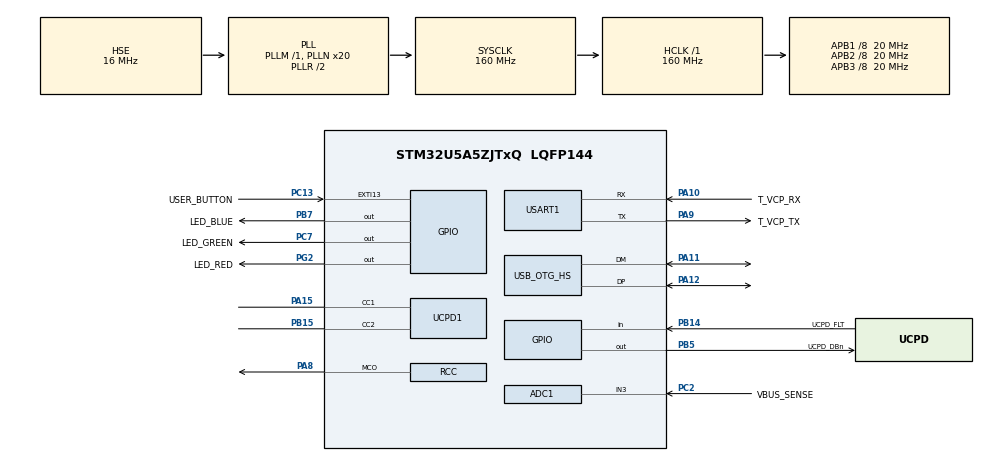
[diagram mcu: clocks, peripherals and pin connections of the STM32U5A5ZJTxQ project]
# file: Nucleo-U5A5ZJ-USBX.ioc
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ADC1.Channel-0\#ChannelRegularConversion=ADC_CHANNEL_3
ADC1.NbrOfConversionFlag=1
ADC1.OffsetNumber-0\#ChannelRegularConversion=ADC_OFFSET_NONE
ADC1.Rank-0\#ChannelRegularConversion=1
ADC1.SamplingTime-0\#ChannelRegularConversion=ADC_SAMPLETIME_5CYCLE
ADC1.master=1
CORTEX_M33_NS.userName=CORTEX_M33
FILEX.FX_APP_MEM_POOL_SIZE=3072
FILEX.FX_ENABLE_EXFAT=1
FILEX.GENERATE_FILEX_INIT_CODE=false
FILEX.useRTOS=1
GPDMA1.DESTINC_GPDMACH0=DMA_DINC_INCREMENTED
GPDMA1.DIRECTION_GPDMACH1=DMA_MEMORY_TO_PERIPH
GPDMA1.IPHANDLE_GPDMACH0-SIMPLEREQUEST_GPDMACH0=__NULL
GPDMA1.IPHANDLE_GPDMACH1-SIMPLEREQUEST_GPDMACH1=__NULL
GPDMA1.REQUEST_GPDMACH0=GPDMA1_REQUEST_UCPD1_RX
GPDMA1.REQUEST_GPDMACH1=GPDMA1_REQUEST_UCPD1_TX
GPDMA1.SRCINC_GPDMACH1=DMA_SINC_INCREMENTED
Mcu.Family=STM32U5
Mcu.Name=STM32U5A5ZJTxQ
Mcu.Package=LQFP144
NVIC.EXTI13_IRQn=true\:15\:0\:true\:false\:true\:false\:true\:true\:true
NVIC.GPDMA1_Channel0_IRQn=true\:5\:0\:true\:false\:true\:true\:false\:true\:true
NVIC.GPDMA1_Channel1_IRQn=true\:5\:0\:true\:false\:true\:true\:false\:true\:true
NVIC.OTG_HS_IRQn=true\:10\:0\:true\:false\:true\:false\:true\:true\:true
NVIC.PriorityGroup=NVIC_PRIORITYGROUP_4
NVIC.TIM7_IRQn=true\:15\:0\:false\:false\:true\:false\:false\:true\:true
NVIC.TimeBase=TIM7_IRQn
NVIC.TimeBaseIP=TIM7
NVIC.UCPD1_IRQn=true\:5\:0\:true\:false\:true\:false\:true\:false\:true
PA10.GPIO_Label=T_VCP_RX
PA10.Mode=Asynchronous
PA10.Signal=USART1_RX
PA11.Mode=Internal_Phy_Host
PA11.Signal=USB_OTG_HS_DM
PA12.Mode=Internal_Phy_Host
PA12.Signal=USB_OTG_HS_DP
PA13\ (JTMS/SWDIO).Mode=Trace_Asynchronous_SW
PA13\ (JTMS/SWDIO).Signal=DEBUG_JTMS-SWDIO
PA14\ (JTCK/SWCLK).Mode=Trace_Asynchronous_SW
PA14\ (JTCK/SWCLK).Signal=DEBUG_JTCK-SWCLK
PA15\ (JTDI).Mode=Source_AllSignals
PA15\ (JTDI).Signal=UCPD1_CC1
PA8.Mode=Clock-out
PA8.Signal=RCC_MCO
PA9.GPIO_Label=T_VCP_TX
PA9.Mode=Asynchronous
PA9.Signal=USART1_TX
PB14.GPIO_Label=UCPD_FLT
PB14.Signal=GPIO_Input
PB15.Mode=Source_AllSignals
PB15.Signal=UCPD1_CC2
PB3\ (JTDO/TRACESWO).Mode=Trace_Asynchronous_SW
PB3\ (JTDO/TRACESWO).Signal=DEBUG_JTDO-SWO
PB5.GPIO_Label=UCPD_DBn
PB5.Signal=GPIO_Output
PB7.GPIO_Label=LED_BLUE
PB7.Signal=GPIO_Output
PC13.GPIO_Label=USER_BUTTON
PC13.GPIO_PuPd=GPIO_PULLDOWN
PC13.Signal=GPXTI13
PC14-OSC32_IN\ (PC14).Mode=LSE-External-Oscillator
PC14-OSC32_IN\ (PC14).Signal=RCC_OSC32_IN
PC15-OSC32_OUT\ (PC15).Mode=LSE-External-Oscillator
PC15-OSC32_OUT\ (PC15).Signal=RCC_OSC32_OUT
PC2.GPIO_Label=VBUS_SENSE
PC2.Mode=IN3-Single-Ended
PC2.Signal=ADC1_IN3
PC7.GPIO_Label=LED_GREEN
PC7.Signal=GPIO_Output
PG2.GPIO_Label=LED_RED
PG2.Signal=GPIO_Output
PH0-OSC_IN\ (PH0).Mode=HSE-External-Oscillator
PH0-OSC_IN\ (PH0).Signal=RCC_OSC_IN
PH1-OSC_OUT\ (PH1).Mode=HSE-External-Oscillator
PH1-OSC_OUT\ (PH1).Signal=RCC_OSC_OUT
PWR.PowerMode=PWR_SMPS_SUPPLY
ProjectManager.HeapSize=0x1000
ProjectManager.StackSize=0x2000
ProjectManager.TargetToolchain=STM32CubeIDE
RCC.ADCFreq_Value=16000000
RCC.AHBFreq_Value=160000000
RCC.APB1CLKDivider=RCC_HCLK_DIV8
RCC.APB1Freq_Value=20000000
RCC.APB1TimFreq_Value=40000000
RCC.APB2CLKDivider=RCC_HCLK_DIV8
RCC.APB2Freq_Value=20000000
RCC.APB2TimFreq_Value=40000000
RCC.APB3CLKDivider=RCC_HCLK_DIV8
RCC.APB3Freq_Value=20000000
RCC.CortexFreq_Value=20000000
RCC.Cortex_Div=SYSTICK_CLKSOURCE_HCLK_DIV8
RCC.DACCLockSelectionVirtual=RCC_DAC1CLKSOURCE_LSI
RCC.EPOD_VALUE=16000000
RCC.HCLKFreq_Value=160000000
RCC.HSE_VALUE=16000000
RCC.HSI48_VALUE=48000000
RCC.HSI_VALUE=16000000
RCC.LSIDIV_VALUE=32000
RCC.MSIAutoCalibration=PLLMODE_MSIS
RCC.MSIClockRange=RCC_MSIRANGE_2
RCC.MSI_VALUE=16000000
RCC.PLL1P=20
RCC.PLL2N=10
RCC.PLLFRACN=0
RCC.PLLN=20
RCC.PLLSourceVirtual=RCC_PLLSOURCE_HSE
RCC.RCC_MCO1SourceVirtual=RCC_MCO1SOURCE_MSI
RCC.RCC_MCODiv=RCC_MCODIV_16
RCC.SYSCLKFreq_VALUE=160000000
RCC.SYSCLKSource=RCC_SYSCLKSOURCE_PLLCLK
RCC.USART1CLockSelectionVirtual=RCC_USART1CLKSOURCE_HSI
RCC.USBPHYCLockSelection=RCC_USBPHYCLKSOURCE_HSE
RCC.VCOOutputFreq_Value=320000000
THREADX.TX_APP_MEM_POOL_SIZE=1024
THREADX.TX_MINIMUM_STACK=1024
THREADX.TX_TIMER_THREAD_STACK_SIZE=2*1024
USART1.VirtualMode-Asynchronous=VM_ASYNC
USBPD.USBPD_PORT0_PDO_SRC_FIXED_SET_MAX_CURRENT_0=500
USBX.BSP.number=1
USBX.Core_System=1
USBX.USBX_HOST_APP_THREAD_Size=3*1024
USBX.USBX_HOST_SYS_SIZE=1024*22
USBX.USBX_SYS_SIZE=24*1024
USBX.UX_APP_MEM_POOL_SIZE=40960
USBX.UX_HOST_APP_MEM_POOL_SIZE=1024*26
USBX.UX_Host_Controller=1
USBX.UX_Host_CoreStack=1
USBX.UX_Host_MSC=1
USBX0.BSP.STBoard=false
USBX0.BSP.api=Unknown
USBX0.BSP.instance=USB_OTG_HS
USBX0.BSP.ip=USB_OTG_HS
USBX0.BSP.mode=Host_Only
USBX0.BSP.name=USBHost
USBX0.BSP.solution=USB_OTG_HS
USB_OTG_HS.RefClockSelection=SYSCFG_OTG_HS_PHY_CLK_SELECT_1
USB_OTG_HS.VirtualMode=Host_HS
USB_OTG_HS.speed=HCD_SPEED_HIGH
USB_OTG_HS.use_external_vbus=DISABLE
VP_FILEX_VS_FileOoSystemJjFileXJjCore.Mode=FileX_Core
VP_GPDMA1_VS_GPDMACH0.Mode=SIMPLEREQUEST_GPDMACH0
VP_GPDMA1_VS_GPDMACH1.Mode=SIMPLEREQUEST_GPDMACH1
VP_ICACHE_VS_ICACHE.Mode=DirectMappedCache
VP_LPBAMQUEUE_VS_QUEUE.Mode=QUEUEMODE
VP_MEMORYMAP_VS_MEMORYMAP.Mode=CurAppReg
VP_PWR_VS_DBSignals.Mode=DisableDeadBatterySignals
VP_PWR_VS_LPOM.Mode=PowerOptimisation
VP_PWR_VS_SECSignals.Mode=Security/Privilege
VP_PWR_Vdda.Mode=isolationVdda
VP_SYS_VS_tim7.Mode=TIM7
VP_THREADX_VS_RTOSJjThreadXJjCoreJjDefault.Mode=Core_Default
VP_USBPD_VS_PD3MINSRC.Mode=PD3_Min_Src
VP_USBPD_VS_USBPD1.Mode=USBPD_P0
VP_USBPD_VS_usbpd_tim1.Mode=TIM1
VP_USBPD_VS_usbpd_usb_cohabitation.Mode=Enable USB Support
VP_USBX_Core_System.Mode=Core_System
VP_USBX_UX\ Host\ Controller_HS.Mode=UX_Host_Controller_HS
VP_USBX_UX\ Host\ CoreStack_HS.Mode=UX_Host_CoreStack_HS
VP_USBX_UX\ Host\ MSC_HS.Mode=UX_Host_MSC_HS
board=NUCLEO-U5A5ZJ-Q

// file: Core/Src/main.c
/* USER CODE BEGIN Header */
/**
  ******************************************************************************
  * @file           : main.c
  * @brief          : Main program body
  ******************************************************************************
  * @attention
  *
  * Copyright (c) 2026 STMicroelectronics.
  * All rights reserved.
  *
  * This software is licensed under terms that can be found in the LICENSE file
  * in the root directory of this software component.
  * If no LICENSE file comes with this software, it is provided AS-IS.
  *
  ******************************************************************************
  */
/* USER CODE END Header */
#include "app_threadx.h"
#include "main.h"
#include "usbpd.h"

/* USER CODE BEGIN Includes */
#include "terminal_colors.h"
#include "trace.h"
#include "my_printf.h"
/* USER CODE END Includes */

ADC_HandleTypeDef hadc1;

UART_HandleTypeDef huart1;

HCD_HandleTypeDef hhcd_USB_OTG_HS;

void SystemClock_Config(void);
static void SystemPower_Config(void);
static void MX_GPIO_Init(void);
static void MX_GPDMA1_Init(void);
static void MX_ADC1_Init(void);
static void MX_ICACHE_Init(void);
static void MX_UCPD1_Init(void);
static void MX_USART1_UART_Init(void);

/* USER CODE BEGIN 0 */
#ifdef __GNUC__
#define PUTCHAR_PROTOTYPE int __io_putchar(int ch)
#else
#define PUTCHAR_PROTOTYPE int fputc(int ch, FILE *f)
#endif

PUTCHAR_PROTOTYPE {
	HAL_StatusTypeDef status = HAL_UART_Transmit(&huart1, (uint8_t *)&ch, 1, HAL_MAX_DELAY);
  if (status != HAL_OK) {
    printf("\n");
  }
	return ch;
}
/* USER CODE END 0 */

int main(void)
{

  /* MCU Configuration--------------------------------------------------------*/

  /* Reset of all peripherals, Initializes the Flash interface and the Systick. */
  HAL_Init();

  /* Configure the System Power */
  SystemPower_Config();

  /* Configure the system clock */
  SystemClock_Config();

  /* Initialize all configured peripherals */
  MX_GPIO_Init();
  MX_GPDMA1_Init();
  MX_ADC1_Init();
  MX_ICACHE_Init();
  MX_UCPD1_Init();
  MX_USART1_UART_Init();
  /* Call PreOsInit function */
  USBPD_PreInitOs();
  /* USER CODE BEGIN 2 */
  my_printf(YELLOW("** restarted **\n"));
  HAL_GPIO_WritePin(UCPD_DBn_GPIO_Port, UCPD_DBn_Pin, GPIO_PIN_SET); // critical! UCPD_DBn high disconnects dead-battery resistors
  /* USER CODE END 2 */

  MX_ThreadX_Init();

  /* We should never get here as control is now taken by the scheduler */

  /* Infinite loop */
  while (1)
  {

  }
}

void SystemClock_Config(void)
{
  RCC_OscInitTypeDef RCC_OscInitStruct = {0};
  RCC_ClkInitTypeDef RCC_ClkInitStruct = {0};

  /** Configure the main internal regulator output voltage
  */
  if (HAL_PWREx_ControlVoltageScaling(PWR_REGULATOR_VOLTAGE_SCALE1) != HAL_OK)
  {
    Error_Handler();
  }

  /** Configure LSE Drive Capability
  */
  HAL_PWR_EnableBkUpAccess();
  __HAL_RCC_LSEDRIVE_CONFIG(RCC_LSEDRIVE_LOW);

  /** Initializes the CPU, AHB and APB buses clocks
  */
  RCC_OscInitStruct.OscillatorType = RCC_OSCILLATORTYPE_HSI|RCC_OSCILLATORTYPE_HSE
                              |RCC_OSCILLATORTYPE_LSE|RCC_OSCILLATORTYPE_MSI;
  RCC_OscInitStruct.HSEState = RCC_HSE_ON;
  RCC_OscInitStruct.LSEState = RCC_LSE_ON;
  RCC_OscInitStruct.HSIState = RCC_HSI_ON;
  RCC_OscInitStruct.HSICalibrationValue = RCC_HSICALIBRATION_DEFAULT;
  RCC_OscInitStruct.MSIState = RCC_MSI_ON;
  RCC_OscInitStruct.MSICalibrationValue = RCC_MSICALIBRATION_DEFAULT;
  RCC_OscInitStruct.MSIClockRange = RCC_MSIRANGE_2;
  RCC_OscInitStruct.PLL.PLLState = RCC_PLL_ON;
  RCC_OscInitStruct.PLL.PLLSource = RCC_PLLSOURCE_HSE;
  RCC_OscInitStruct.PLL.PLLMBOOST = RCC_PLLMBOOST_DIV1;
  RCC_OscInitStruct.PLL.PLLM = 1;
  RCC_OscInitStruct.PLL.PLLN = 20;
  RCC_OscInitStruct.PLL.PLLP = 20;
  RCC_OscInitStruct.PLL.PLLQ = 2;
  RCC_OscInitStruct.PLL.PLLR = 2;
  RCC_OscInitStruct.PLL.PLLRGE = RCC_PLLVCIRANGE_1;
  RCC_OscInitStruct.PLL.PLLFRACN = 0;
  if (HAL_RCC_OscConfig(&RCC_OscInitStruct) != HAL_OK)
  {
    Error_Handler();
  }

  /** Initializes the CPU, AHB and APB buses clocks
  */
  RCC_ClkInitStruct.ClockType = RCC_CLOCKTYPE_HCLK|RCC_CLOCKTYPE_SYSCLK
                              |RCC_CLOCKTYPE_PCLK1|RCC_CLOCKTYPE_PCLK2
                              |RCC_CLOCKTYPE_PCLK3;
  RCC_ClkInitStruct.SYSCLKSource = RCC_SYSCLKSOURCE_PLLCLK;
  RCC_ClkInitStruct.AHBCLKDivider = RCC_SYSCLK_DIV1;
  RCC_ClkInitStruct.APB1CLKDivider = RCC_HCLK_DIV8;
  RCC_ClkInitStruct.APB2CLKDivider = RCC_HCLK_DIV8;
  RCC_ClkInitStruct.APB3CLKDivider = RCC_HCLK_DIV8;

  if (HAL_RCC_ClockConfig(&RCC_ClkInitStruct, FLASH_LATENCY_4) != HAL_OK)
  {
    Error_Handler();
  }

  /** Enable MSI Auto calibration
  */
  HAL_RCCEx_EnableMSIPLLModeSelection(RCC_MSISPLL_MODE_SEL);
  HAL_RCCEx_EnableMSIPLLMode();

  /** MCO configuration
  */
  HAL_RCC_MCOConfig(RCC_MCO1, RCC_MCO1SOURCE_MSI, RCC_MCODIV_16);
}

/**
  * @brief Power Configuration
  * @retval None
  */
static void SystemPower_Config(void)
{
  HAL_PWREx_EnableVddIO2();

  /*
   * Switch to SMPS regulator instead of LDO
   */
  if (HAL_PWREx_ConfigSupply(PWR_SMPS_SUPPLY) != HAL_OK)
  {
    Error_Handler();
  }
}

static void MX_ADC1_Init(void)
{

  ADC_ChannelConfTypeDef sConfig = {0};

  /** Common config
  */
  hadc1.Instance = ADC1;
  hadc1.Init.ClockPrescaler = ADC_CLOCK_ASYNC_DIV1;
  hadc1.Init.Resolution = ADC_RESOLUTION_14B;
  hadc1.Init.GainCompensation = 0;
  hadc1.Init.DataAlign = ADC_DATAALIGN_RIGHT;
  hadc1.Init.ScanConvMode = ADC_SCAN_DISABLE;
  hadc1.Init.EOCSelection = ADC_EOC_SINGLE_CONV;
  hadc1.Init.LowPowerAutoWait = DISABLE;
  hadc1.Init.ContinuousConvMode = DISABLE;
  hadc1.Init.NbrOfConversion = 1;
  hadc1.Init.DiscontinuousConvMode = DISABLE;
  hadc1.Init.ExternalTrigConv = ADC_SOFTWARE_START;
  hadc1.Init.ExternalTrigConvEdge = ADC_EXTERNALTRIGCONVEDGE_NONE;
  hadc1.Init.DMAContinuousRequests = DISABLE;
  hadc1.Init.TriggerFrequencyMode = ADC_TRIGGER_FREQ_HIGH;
  hadc1.Init.Overrun = ADC_OVR_DATA_PRESERVED;
  hadc1.Init.LeftBitShift = ADC_LEFTBITSHIFT_NONE;
  hadc1.Init.ConversionDataManagement = ADC_CONVERSIONDATA_DR;
  hadc1.Init.OversamplingMode = DISABLE;
  if (HAL_ADC_Init(&hadc1) != HAL_OK)
  {
    Error_Handler();
  }

  /** Configure Regular Channel
  */
  sConfig.Channel = ADC_CHANNEL_3;
  sConfig.Rank = ADC_REGULAR_RANK_1;
  sConfig.SamplingTime = ADC_SAMPLETIME_5CYCLE;
  sConfig.SingleDiff = ADC_SINGLE_ENDED;
  sConfig.OffsetNumber = ADC_OFFSET_NONE;
  sConfig.Offset = 0;
  if (HAL_ADC_ConfigChannel(&hadc1, &sConfig) != HAL_OK)
  {
    Error_Handler();
  }

}

static void MX_GPDMA1_Init(void)
{

  /* Peripheral clock enable */
  __HAL_RCC_GPDMA1_CLK_ENABLE();

  /* GPDMA1 interrupt Init */
    HAL_NVIC_SetPriority(GPDMA1_Channel0_IRQn, 5, 0);
    HAL_NVIC_EnableIRQ(GPDMA1_Channel0_IRQn);
    HAL_NVIC_SetPriority(GPDMA1_Channel1_IRQn, 5, 0);
    HAL_NVIC_EnableIRQ(GPDMA1_Channel1_IRQn);

}

static void MX_ICACHE_Init(void)
{

  /** Enable instruction cache in 1-way (direct mapped cache)
  */
  if (HAL_ICACHE_ConfigAssociativityMode(ICACHE_1WAY) != HAL_OK)
  {
    Error_Handler();
  }
  if (HAL_ICACHE_Enable() != HAL_OK)
  {
    Error_Handler();
  }

}

static void MX_UCPD1_Init(void)
{

  LL_GPIO_InitTypeDef GPIO_InitStruct = {0};
  LL_DMA_InitTypeDef DMA_InitStruct = {0};

  /* Peripheral clock enable */
  LL_APB1_GRP2_EnableClock(LL_APB1_GRP2_PERIPH_UCPD1);

  LL_AHB2_GRP1_EnableClock(LL_AHB2_GRP1_PERIPH_GPIOB);
  LL_AHB2_GRP1_EnableClock(LL_AHB2_GRP1_PERIPH_GPIOA);
  /**UCPD1 GPIO Configuration
  PB15   ------> UCPD1_CC2
  PA15 (JTDI)   ------> UCPD1_CC1
  */
  GPIO_InitStruct.Pin = LL_GPIO_PIN_15;
  GPIO_InitStruct.Mode = LL_GPIO_MODE_ANALOG;
  GPIO_InitStruct.Pull = LL_GPIO_PULL_NO;
  LL_GPIO_Init(GPIOB, &GPIO_InitStruct);

  GPIO_InitStruct.Pin = LL_GPIO_PIN_15;
  GPIO_InitStruct.Mode = LL_GPIO_MODE_ANALOG;
  GPIO_InitStruct.Pull = LL_GPIO_PULL_NO;
  LL_GPIO_Init(GPIOA, &GPIO_InitStruct);

  /* UCPD1 DMA Init */

  /* GPDMA1_REQUEST_UCPD1_TX Init */
  DMA_InitStruct.SrcAddress = 0x00000000U;
  DMA_InitStruct.DestAddress = 0x00000000U;
  DMA_InitStruct.Direction = LL_DMA_DIRECTION_MEMORY_TO_PERIPH;
  DMA_InitStruct.BlkHWRequest = LL_DMA_HWREQUEST_SINGLEBURST;
  DMA_InitStruct.DataAlignment = LL_DMA_DATA_ALIGN_ZEROPADD;
  DMA_InitStruct.SrcBurstLength = 1;
  DMA_InitStruct.DestBurstLength = 1;
  DMA_InitStruct.SrcDataWidth = LL_DMA_SRC_DATAWIDTH_BYTE;
  DMA_InitStruct.DestDataWidth = LL_DMA_DEST_DATAWIDTH_BYTE;
  DMA_InitStruct.SrcIncMode = LL_DMA_SRC_INCREMENT;
  DMA_InitStruct.DestIncMode = LL_DMA_DEST_FIXED;
  DMA_InitStruct.Priority = LL_DMA_LOW_PRIORITY_LOW_WEIGHT;
  DMA_InitStruct.BlkDataLength = 0x00000000U;
  DMA_InitStruct.TriggerMode = LL_DMA_TRIGM_BLK_TRANSFER;
  DMA_InitStruct.TriggerPolarity = LL_DMA_TRIG_POLARITY_MASKED;
  DMA_InitStruct.TriggerSelection = 0x00000000U;
  DMA_InitStruct.Request = LL_GPDMA1_REQUEST_UCPD1_TX;
  DMA_InitStruct.TransferEventMode = LL_DMA_TCEM_BLK_TRANSFER;
  DMA_InitStruct.SrcAllocatedPort = LL_DMA_SRC_ALLOCATED_PORT0;
  DMA_InitStruct.DestAllocatedPort = LL_DMA_DEST_ALLOCATED_PORT0;
  DMA_InitStruct.LinkAllocatedPort = LL_DMA_LINK_ALLOCATED_PORT1;
  DMA_InitStruct.LinkStepMode = LL_DMA_LSM_FULL_EXECUTION;
  DMA_InitStruct.LinkedListBaseAddr = 0x00000000U;
  DMA_InitStruct.LinkedListAddrOffset = 0x00000000U;
  LL_DMA_Init(GPDMA1, LL_DMA_CHANNEL_1, &DMA_InitStruct);

  /* GPDMA1_REQUEST_UCPD1_RX Init */
  DMA_InitStruct.SrcAddress = 0x00000000U;
  DMA_InitStruct.DestAddress = 0x00000000U;
  DMA_InitStruct.Direction = LL_DMA_DIRECTION_PERIPH_TO_MEMORY;
  DMA_InitStruct.BlkHWRequest = LL_DMA_HWREQUEST_SINGLEBURST;
  DMA_InitStruct.DataAlignment = LL_DMA_DATA_ALIGN_ZEROPADD;
  DMA_InitStruct.SrcBurstLength = 1;
  DMA_InitStruct.DestBurstLength = 1;
  DMA_InitStruct.SrcDataWidth = LL_DMA_SRC_DATAWIDTH_BYTE;
  DMA_InitStruct.DestDataWidth = LL_DMA_DEST_DATAWIDTH_BYTE;
  DMA_InitStruct.SrcIncMode = LL_DMA_SRC_FIXED;
  DMA_InitStruct.DestIncMode = LL_DMA_DEST_INCREMENT;
  DMA_InitStruct.Priority = LL_DMA_LOW_PRIORITY_LOW_WEIGHT;
  DMA_InitStruct.BlkDataLength = 0x00000000U;
  DMA_InitStruct.TriggerMode = LL_DMA_TRIGM_BLK_TRANSFER;
  DMA_InitStruct.TriggerPolarity = LL_DMA_TRIG_POLARITY_MASKED;
  DMA_InitStruct.TriggerSelection = 0x00000000U;
  DMA_InitStruct.Request = LL_GPDMA1_REQUEST_UCPD1_RX;
  DMA_InitStruct.TransferEventMode = LL_DMA_TCEM_BLK_TRANSFER;
  DMA_InitStruct.SrcAllocatedPort = LL_DMA_SRC_ALLOCATED_PORT0;
  DMA_InitStruct.DestAllocatedPort = LL_DMA_DEST_ALLOCATED_PORT0;
  DMA_InitStruct.LinkAllocatedPort = LL_DMA_LINK_ALLOCATED_PORT1;
  DMA_InitStruct.LinkStepMode = LL_DMA_LSM_FULL_EXECUTION;
  DMA_InitStruct.LinkedListBaseAddr = 0x00000000U;
  DMA_InitStruct.LinkedListAddrOffset = 0x00000000U;
  LL_DMA_Init(GPDMA1, LL_DMA_CHANNEL_0, &DMA_InitStruct);

  /* UCPD1 interrupt Init */
  NVIC_SetPriority(UCPD1_IRQn, NVIC_EncodePriority(NVIC_GetPriorityGrouping(),5, 0));
  NVIC_EnableIRQ(UCPD1_IRQn);

}

static void MX_USART1_UART_Init(void)
{

  huart1.Instance = USART1;
  huart1.Init.BaudRate = 115200;
  huart1.Init.WordLength = UART_WORDLENGTH_8B;
  huart1.Init.StopBits = UART_STOPBITS_1;
  huart1.Init.Parity = UART_PARITY_NONE;
  huart1.Init.Mode = UART_MODE_TX_RX;
  huart1.Init.HwFlowCtl = UART_HWCONTROL_NONE;
  huart1.Init.OverSampling = UART_OVERSAMPLING_16;
  huart1.Init.OneBitSampling = UART_ONE_BIT_SAMPLE_DISABLE;
  huart1.Init.ClockPrescaler = UART_PRESCALER_DIV1;
  huart1.AdvancedInit.AdvFeatureInit = UART_ADVFEATURE_NO_INIT;
  if (HAL_UART_Init(&huart1) != HAL_OK)
  {
    Error_Handler();
  }
  if (HAL_UARTEx_SetTxFifoThreshold(&huart1, UART_TXFIFO_THRESHOLD_1_8) != HAL_OK)
  {
    Error_Handler();
  }
  if (HAL_UARTEx_SetRxFifoThreshold(&huart1, UART_RXFIFO_THRESHOLD_1_8) != HAL_OK)
  {
    Error_Handler();
  }
  if (HAL_UARTEx_DisableFifoMode(&huart1) != HAL_OK)
  {
    Error_Handler();
  }

}

void MX_USB_OTG_HS_HCD_Init(void)
{

  hhcd_USB_OTG_HS.Instance = USB_OTG_HS;
  hhcd_USB_OTG_HS.Init.Host_channels = 16;
  hhcd_USB_OTG_HS.Init.speed = HCD_SPEED_HIGH;
  hhcd_USB_OTG_HS.Init.dma_enable = DISABLE;
  hhcd_USB_OTG_HS.Init.phy_itface = USB_OTG_HS_EMBEDDED_PHY;
  hhcd_USB_OTG_HS.Init.Sof_enable = DISABLE;
  hhcd_USB_OTG_HS.Init.low_power_enable = DISABLE;
  hhcd_USB_OTG_HS.Init.vbus_sensing_enable = DISABLE;
  hhcd_USB_OTG_HS.Init.use_external_vbus = DISABLE;
  if (HAL_HCD_Init(&hhcd_USB_OTG_HS) != HAL_OK)
  {
    Error_Handler();
  }

}

static void MX_GPIO_Init(void)
{
  GPIO_InitTypeDef GPIO_InitStruct = {0};

  /* GPIO Ports Clock Enable */
  __HAL_RCC_GPIOC_CLK_ENABLE();
  __HAL_RCC_GPIOH_CLK_ENABLE();
  __HAL_RCC_GPIOB_CLK_ENABLE();
  __HAL_RCC_GPIOG_CLK_ENABLE();
  __HAL_RCC_GPIOA_CLK_ENABLE();

  /*Configure GPIO pin Output Level */
  HAL_GPIO_WritePin(LED_RED_GPIO_Port, LED_RED_Pin, GPIO_PIN_RESET);

  /*Configure GPIO pin Output Level */
  HAL_GPIO_WritePin(LED_GREEN_GPIO_Port, LED_GREEN_Pin, GPIO_PIN_RESET);

  /*Configure GPIO pin Output Level */
  HAL_GPIO_WritePin(GPIOB, UCPD_DBn_Pin|LED_BLUE_Pin, GPIO_PIN_RESET);

  /*Configure GPIO pin : USER_BUTTON_Pin */
  GPIO_InitStruct.Pin = USER_BUTTON_Pin;
  GPIO_InitStruct.Mode = GPIO_MODE_IT_RISING;
  GPIO_InitStruct.Pull = GPIO_PULLDOWN;
  HAL_GPIO_Init(USER_BUTTON_GPIO_Port, &GPIO_InitStruct);

  /*Configure GPIO pin : UCPD_FLT_Pin */
  GPIO_InitStruct.Pin = UCPD_FLT_Pin;
  GPIO_InitStruct.Mode = GPIO_MODE_INPUT;
  GPIO_InitStruct.Pull = GPIO_NOPULL;
  HAL_GPIO_Init(UCPD_FLT_GPIO_Port, &GPIO_InitStruct);

  /*Configure GPIO pin : LED_RED_Pin */
  GPIO_InitStruct.Pin = LED_RED_Pin;
  GPIO_InitStruct.Mode = GPIO_MODE_OUTPUT_PP;
  GPIO_InitStruct.Pull = GPIO_NOPULL;
  GPIO_InitStruct.Speed = GPIO_SPEED_FREQ_LOW;
  HAL_GPIO_Init(LED_RED_GPIO_Port, &GPIO_InitStruct);

  /*Configure GPIO pin : LED_GREEN_Pin */
  GPIO_InitStruct.Pin = LED_GREEN_Pin;
  GPIO_InitStruct.Mode = GPIO_MODE_OUTPUT_PP;
  GPIO_InitStruct.Pull = GPIO_NOPULL;
  GPIO_InitStruct.Speed = GPIO_SPEED_FREQ_LOW;
  HAL_GPIO_Init(LED_GREEN_GPIO_Port, &GPIO_InitStruct);

  /*Configure GPIO pin : PA8 */
  GPIO_InitStruct.Pin = GPIO_PIN_8;
  GPIO_InitStruct.Mode = GPIO_MODE_AF_PP;
  GPIO_InitStruct.Pull = GPIO_NOPULL;
  GPIO_InitStruct.Speed = GPIO_SPEED_FREQ_HIGH;
  GPIO_InitStruct.Alternate = GPIO_AF0_MCO;
  HAL_GPIO_Init(GPIOA, &GPIO_InitStruct);

  /*Configure GPIO pins : UCPD_DBn_Pin LED_BLUE_Pin */
  GPIO_InitStruct.Pin = UCPD_DBn_Pin|LED_BLUE_Pin;
  GPIO_InitStruct.Mode = GPIO_MODE_OUTPUT_PP;
  GPIO_InitStruct.Pull = GPIO_NOPULL;
  GPIO_InitStruct.Speed = GPIO_SPEED_FREQ_LOW;
  HAL_GPIO_Init(GPIOB, &GPIO_InitStruct);

  /* EXTI interrupt init*/
  HAL_NVIC_SetPriority(EXTI13_IRQn, 15, 0);
  HAL_NVIC_EnableIRQ(EXTI13_IRQn);

}

void HAL_TIM_PeriodElapsedCallback(TIM_HandleTypeDef *htim)
{
  if (htim->Instance == TIM7)
  {
    HAL_IncTick();
    USBPD_DPM_TimerCounter();
  }
}

void Error_Handler(void)
{
  /* USER CODE BEGIN Error_Handler_Debug */
  my_printf(RED_BG("error handler") "\n");
  /* User can add his own implementation to report the HAL error return state */
  __disable_irq();
  while (1)
  {
  }
  /* USER CODE END Error_Handler_Debug */
}
